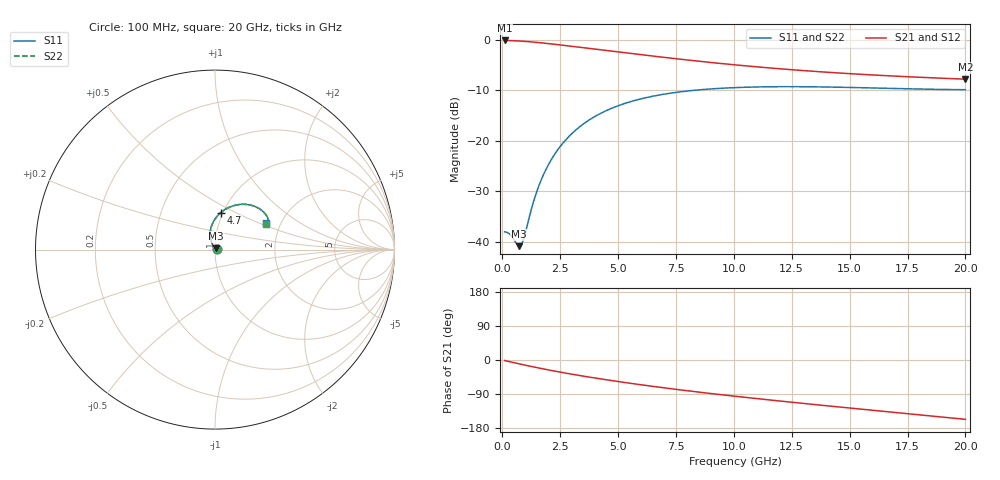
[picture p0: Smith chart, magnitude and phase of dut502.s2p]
! Touchstone file exported from HFSS 2024.1.0
!  File:  C:/UserFiles/LocalFiles/RDL_TSV_Batchsim/temp_RDL_TSV_502_1779737706.aedt
!  Generated:  03:50:13 AM May 26, 2026
!  Design:  RDL_TSV
!  Project:  temp_RDL_TSV_502_1779737706
!  Setup:  Setup1
!  Solution:  Sweep
! Variables:
!  dtsv = 8.51um
!  hbump = 3um
!  htsv = 86.93um
!  ldown = 230.37um
!  lrdl = 306.04um
!  p = 40
!  p1 = 48.69um
!  rhole = 10um
!  subl = 1915.27um
!  t = 450um
!  tdown = 4.46um
!  trdl = 3.39um
!  viad = 10um
!  wdown = 17.23um
!  wrdl = 15.37um
!  xbump = 18um
# GHz S MA R 50.000000
! Terminal data exported
! Port[1] = TM1_1_T1
! Port[2] = TM1_4_T1
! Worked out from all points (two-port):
!   200 points, 100 MHz to 20 GHz, reference 50 ohm
!   highest |S21| = -0.11 dB at 100 MHz (marker M1); lowest = -7.8 dB at 20 GHz (marker M2)
!   |S21| within 3 dB of the highest: start of sweep to 6.322 GHz
!   lowest |S11| = -40.9 dB at 700 MHz (marker M3), VSWR 1.02, Z = 50.6 + j0.664 ohm
!   |S11| at or under -10 dB: start of sweep to 8.28 GHz
!   |S22| runs from -40.9 to -9.3 dB; largest |S21 - S12| = 8.6e-15
!   S11 on the Smith chart (normalised r, x): 100 MHz: 1.03, +0.00; 4.7 GHz: 0.98, +0.42; 20 GHz: 1.69, +0.55
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0.1  0.01248 4.3  0.9871 -1.4  0.9871 -1.4  0.01248 4.3
! Gamma 0 0 0 0
! Port Impedance 50 0 50 0
0.3  0.01199 12.3  0.9848 -4.3  0.9848 -4.3  0.01199 12.3
0.7  0.009009 46.7  0.9756 -9.8  0.9756 -9.8  0.00901 46.7
0.8  0.00911 63.5  0.9725 -11.1  0.9725 -11.1  0.009109 63.5
0.9  0.01022 80.1  0.9692 -12.5  0.9692 -12.5  0.01022 80.1
1.3  0.02281 111.7  0.9532 -17.7  0.9532 -17.7  0.02281 111.7
1.5  0.03187 115.0  0.9439 -20.2  0.9439 -20.2  0.03185 115.0
1.7  0.04194 115.4  0.9341 -22.7  0.9341 -22.7  0.04192 115.4
2  0.05836 113.7  0.9186 -26.3  0.9186 -26.3  0.05834 113.7
2.3  0.07576 110.5  0.9024 -29.7  0.9024 -29.7  0.07574 110.5
2.7  0.09964 105.6  0.8805 -34.2  0.8805 -34.2  0.0996 105.6
3.5  0.1467 95.2  0.8369 -42.6  0.8369 -42.6  0.1466 95.2
4.1  0.1793 87.9  0.8052 -48.4  0.8052 -48.4  0.1793 87.8
4.7  0.2088 81.1  0.7747 -54.1  0.7747 -54.1  0.2087 81.1
5.7  0.2501 71.1  0.7267 -62.9  0.7267 -62.9  0.2501 71.1
6.8  0.2848 61.8  0.6786 -72.0  0.6786 -72.0  0.2847 61.8
8.4  0.3181 51.0  0.6176 -84.1  0.6176 -84.1  0.3181 51.0
10.1  0.3367 42.3  0.5642 -96.0  0.5642 -96.0  0.3367 42.3
11.7  0.3433 36.1  0.5235 -106.4  0.5235 -106.4  0.3432 36.1
13.4  0.3426 31.4  0.4887 -117.0  0.4887 -117.0  0.3426 31.4
16.7  0.3307 26.7  0.4402 -136.9  0.4402 -136.9  0.3308 26.7
20  0.3206 27.0  0.408 -156.6  0.408 -156.6  0.3206 26.9
